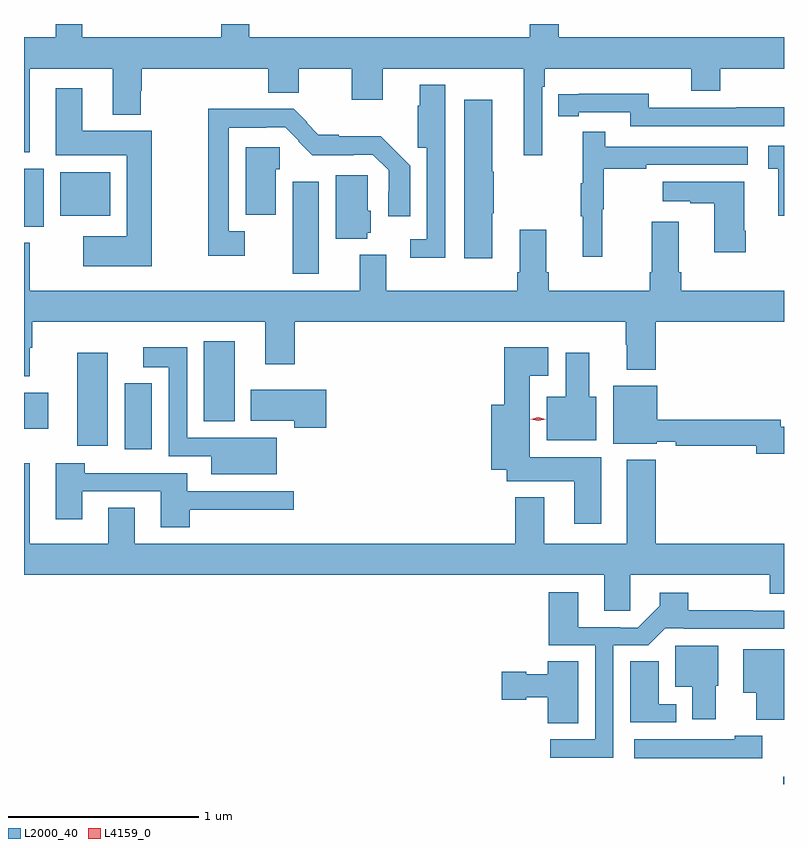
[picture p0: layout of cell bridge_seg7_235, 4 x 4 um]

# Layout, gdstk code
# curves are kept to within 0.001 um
import gdstk
lib = gdstk.Library(unit=1e-6, precision=1e-09)
def R(c, l, rs):  # rectangles x0, y0, x1, y1
    for r in rs: c.add(gdstk.rectangle(r[:2], r[2:], *l))
def P(c, l, *ps):  # polygons
    for p in ps: c.add(gdstk.Polygon(p, *l))
L2000_40 = (2000, 40)
L4159_0 = (4159, 0)

bridge_seg7_235 = lib.new_cell('bridge_seg7_235')
R(bridge_seg7_235, L2000_40, [(328.655,1056.791,328.66,1056.83), (325.19,1058.553,325.333,1058.899), (324.941,1058.571,325.102,1059.061), (324.66,1058.66,324.787,1058.851), (325.607,1058.699,325.768,1059.121), (326.075,1059.477,326.212,1059.961), (324.66,1059.725,324.763,1060.03), (324.851,1059.782,325.114,1060.012)])
P(bridge_seg7_235, L2000_40, [(327.387,1060.46),(327.401,1060.46),(327.401,1060.556),(328.172,1060.556),(328.172,1060.439),(328.325,1060.439),(328.325,1060.556),(328.66,1060.556),(328.66,1060.72),(327.475,1060.72),(327.475,1060.791),(327.323,1060.791),(327.323,1060.72),(325.846,1060.72),(325.846,1060.791),(325.699,1060.791),(325.699,1060.72),(324.966,1060.72),(324.966,1060.791),(324.827,1060.791),(324.827,1060.72),(324.66,1060.72),(324.66,1060.115),(324.691,1060.115),(324.691,1060.556),(325.127,1060.556),(325.127,1060.313),(325.275,1060.313),(325.275,1060.44),(325.28,1060.44),(325.28,1060.556),(325.946,1060.556),(325.946,1060.43),(326.107,1060.43),(326.107,1060.556),(326.384,1060.556),(326.384,1060.392),(326.548,1060.392),(326.548,1060.556),(327.29,1060.556),(327.29,1060.101),(327.387,1060.101)],
  [(326.877,1060.243),(326.878,1060.243),(326.878,1060.471),(326.744,1060.471),(326.744,1060.361),(326.732,1060.361),(326.732,1060.14),(326.781,1060.14),(326.781,1059.657),(326.694,1059.657),(326.694,1059.56),(326.877,1059.56)],
  [(325.332,1060.228),(324.967,1060.228),(324.967,1060.453),(324.827,1060.453),(324.827,1060.1),(325.202,1060.1),(325.202,1059.673),(324.972,1059.673),(324.972,1059.515),(325.332,1059.515)],
  [(328.66,1060.352),(328.408,1060.352),(328.408,1060.35),(327.948,1060.35),(327.948,1060.423),(327.58,1060.423),(327.58,1060.422),(327.472,1060.422),(327.472,1060.306),(327.58,1060.306),(327.58,1060.326),(327.852,1060.326),(327.852,1060.254),(328.66,1060.254)],
  [(327.124,1059.796),(327.132,1059.796),(327.132,1060.013),(327.124,1060.013),(327.124,1060.393),(326.978,1060.393),(326.978,1059.558),(327.124,1059.558)],
  [(325.822,1059.7),(325.737,1059.7),(325.737,1060.244),(325.934,1060.244),(325.934,1060.248),(326.034,1060.248),(326.106,1060.176),(326.103,1060.173),(326.177,1060.1),(326.396,1060.1),(326.396,1060.104),(326.496,1060.104),(326.58,1060.02),(326.58,1059.907),(326.576,1059.907),(326.576,1059.78),(326.692,1059.78),(326.692,1060.044),(326.537,1060.201),(326.317,1060.201),(326.317,1060.209),(326.209,1060.209),(326.147,1060.271),(326.151,1060.275),(326.081,1060.345),(325.629,1060.345),(325.629,1059.572),(325.822,1059.572)],
  [(327.704,1059.816),(327.712,1059.816),(327.712,1060.03),(327.935,1060.03),(327.935,1060.05),(328.468,1060.05),(328.468,1060.146),(327.719,1060.146),(327.719,1060.225),(327.602,1060.225),(327.602,1059.953),(327.591,1059.953),(327.591,1059.779),(327.602,1059.779),(327.602,1059.567),(327.704,1059.567)],
  [(328.66,1060.15),(328.578,1060.15),(328.578,1060.029),(328.631,1060.029),(328.631,1059.783),(328.66,1059.783)],
  [(325.984,1060.026),(326.007,1060.026),(326.007,1060.143),(325.826,1060.143),(325.826,1059.788),(325.984,1059.788)],
  [(326.466,1059.693),(326.485,1059.693),(326.485,1059.807),(326.469,1059.807),(326.469,1059.996),(326.3,1059.996),(326.3,1059.662),(326.466,1059.662)],
  [(328.458,1059.703),(328.45,1059.703),(328.45,1059.961),(328.023,1059.961),(328.023,1059.857),(328.166,1059.857),(328.166,1059.847),(328.292,1059.847),(328.292,1059.591),(328.458,1059.591)],
  [(324.691,1059.086),(324.704,1059.086),(324.704,1059.224),(325.931,1059.224),(325.931,1059),(326.084,1059),(326.084,1059.224),(327.826,1059.224),(327.826,1059.104),(327.833,1059.104),(327.833,1058.972),(327.986,1058.972),(327.986,1059.224),(328.66,1059.224),(328.66,1059.388),(328.118,1059.388),(328.118,1059.484),(328.105,1059.484),(328.105,1059.751),(327.965,1059.751),(327.965,1059.484),(327.953,1059.484),(327.953,1059.388),(327.422,1059.388),(327.422,1059.484),(327.409,1059.484),(327.409,1059.709),(327.269,1059.709),(327.269,1059.484),(327.257,1059.484),(327.257,1059.388),(326.566,1059.388),(326.566,1059.577),(326.426,1059.577),(326.426,1059.388),(324.691,1059.388),(324.691,1059.64),(324.66,1059.64),(324.66,1058.936),(324.691,1058.936)],
  [(325.99,1058.614),(325.764,1058.614),(325.764,1058.613),(325.518,1058.613),(325.518,1059.091),(325.287,1059.091),(325.287,1058.984),(325.422,1058.984),(325.422,1058.517),(325.646,1058.517),(325.646,1058.42),(325.99,1058.42)],
  [(327.697,1058.512),(327.322,1058.512),(327.322,1058.939),(327.418,1058.939),(327.418,1059.091),(327.188,1059.091),(327.188,1058.788),(327.119,1058.788),(327.119,1058.444),(327.2,1058.444),(327.2,1058.384),(327.557,1058.384),(327.557,1058.16),(327.697,1058.16)],
  [(327.673,1058.83),(327.634,1058.83),(327.634,1059.061),(327.512,1059.061),(327.512,1058.83),(327.41,1058.83),(327.41,1058.6),(327.673,1058.6)],
  [(328.66,1058.672),(328.642,1058.672),(328.642,1058.708),(327.994,1058.708),(327.994,1058.887),(327.761,1058.887),(327.761,1058.582),(327.99,1058.582),(327.99,1058.592),(328.09,1058.592),(328.09,1058.572),(328.514,1058.572),(328.514,1058.53),(328.66,1058.53)],
  [(326.252,1058.866),(325.853,1058.866),(325.853,1058.702),(326.083,1058.702),(326.083,1058.665),(326.252,1058.665)],
  [(327.852,1057.892),(328.585,1057.892),(328.585,1057.793),(328.66,1057.793),(328.66,1058.056),(327.986,1058.056),(327.986,1058.497),(327.833,1058.497),(327.833,1058.056),(327.397,1058.056),(327.397,1058.299),(327.245,1058.299),(327.245,1058.056),(325.243,1058.056),(325.243,1058.246),(325.103,1058.246),(325.103,1058.056),(324.691,1058.056),(324.691,1058.479),(324.66,1058.479),(324.66,1057.892),(327.713,1057.892),(327.713,1057.702),(327.852,1057.702)],
  [(325.532,1058.234),(326.08,1058.234),(326.08,1058.331),(325.519,1058.331),(325.519,1058.427),(324.98,1058.427),(324.98,1058.479),(324.827,1058.479),(324.827,1058.184),(324.967,1058.184),(324.967,1058.331),(325.379,1058.331),(325.379,1058.142),(325.532,1058.142)],
  [(327.762,1057.521),(327.946,1057.521),(328.036,1057.611),(328.132,1057.611),(328.132,1057.608),(328.66,1057.608),(328.66,1057.704),(328.496,1057.704),(328.496,1057.706),(328.155,1057.706),(328.155,1057.798),(328.007,1057.798),(328.007,1057.73),(327.891,1057.614),(327.797,1057.614),(327.797,1057.617),(327.577,1057.617),(327.577,1057.801),(327.422,1057.801),(327.422,1057.521),(327.666,1057.521),(327.666,1057.026),(327.429,1057.026),(327.429,1056.929),(327.762,1056.929)],
  [(328.3,1057.308),(328.315,1057.308),(328.315,1057.519),(328.088,1057.519),(328.088,1057.304),(328.178,1057.304),(328.178,1057.131),(328.3,1057.131)],
  [(328.66,1057.501),(328.445,1057.501),(328.445,1057.271),(328.514,1057.271),(328.514,1057.13),(328.66,1057.13)],
  [(327.577,1057.436),(327.416,1057.436),(327.416,1057.369),(327.303,1057.369),(327.303,1057.382),(327.174,1057.382),(327.174,1057.235),(327.303,1057.235),(327.303,1057.247),(327.416,1057.247),(327.416,1057.111),(327.577,1057.111)],
  [(328.093,1057.212),(328,1057.212),(328,1057.436),(327.851,1057.436),(327.851,1057.116),(328.093,1057.116)],
  [(328.546,1057.045),(328.401,1057.045),(328.401,1057.027),(327.873,1057.027),(327.873,1056.926),(328.546,1056.926)])
P(bridge_seg7_235, L4159_0, [(327.366,1058.702),(327.328,1058.712),(327.327,1058.712),(327.328,1058.712),(327.366,1058.722),(327.405,1058.712),(327.405,1058.712),(327.405,1058.712)])

lib.write_gds('bridge_seg7_235.gds')
